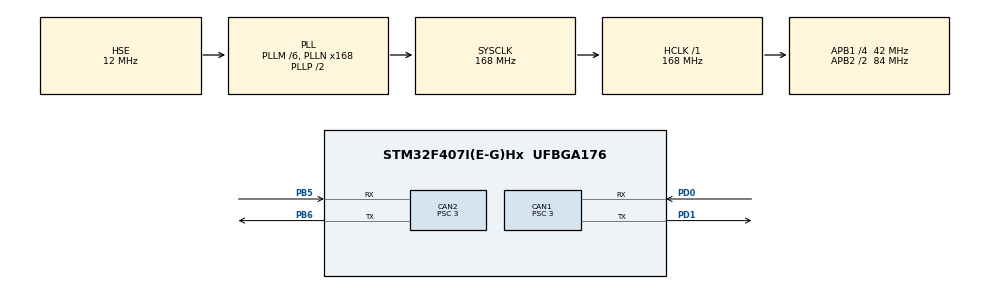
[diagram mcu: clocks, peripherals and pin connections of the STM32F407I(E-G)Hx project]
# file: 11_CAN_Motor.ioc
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CAN1.BS1=CAN_BS1_10TQ
CAN1.BS2=CAN_BS2_3TQ
CAN1.CalculateBaudRate=1000000
CAN1.CalculateTimeBit=1000
CAN1.CalculateTimeQuantum=71.42857142857143
CAN1.Mode=CAN_MODE_NORMAL
CAN1.Prescaler=3
CAN1.TXFP=ENABLE
CAN2.BS1=CAN_BS1_10TQ
CAN2.BS2=CAN_BS2_3TQ
CAN2.CalculateBaudRate=1000000
CAN2.CalculateTimeBit=1000
CAN2.CalculateTimeQuantum=71.42857142857143
CAN2.Mode=CAN_MODE_NORMAL
CAN2.Prescaler=3
CAN2.TXFP=ENABLE
Mcu.Family=STM32F4
Mcu.Name=STM32F407I(E-G)Hx
Mcu.Package=UFBGA176
NVIC.CAN1_RX0_IRQn=true\:0\:0\:false\:false\:true\:true\:true\:true
NVIC.CAN1_RX1_IRQn=true\:0\:0\:false\:false\:true\:true\:true\:true
NVIC.CAN2_RX0_IRQn=true\:0\:0\:false\:false\:true\:true\:true\:true
NVIC.CAN2_RX1_IRQn=true\:0\:0\:false\:false\:true\:true\:true\:true
NVIC.PriorityGroup=NVIC_PRIORITYGROUP_4
PA13.Mode=Serial_Wire
PA13.Signal=SYS_JTMS-SWDIO
PA14.Mode=Serial_Wire
PA14.Signal=SYS_JTCK-SWCLK
PB5.Mode=CAN_Activate
PB5.Signal=CAN2_RX
PB6.Mode=CAN_Activate
PB6.Signal=CAN2_TX
PD0.Mode=CAN_Activate
PD0.Signal=CAN1_RX
PD1.Mode=CAN_Activate
PD1.Signal=CAN1_TX
PH0-OSC_IN.Mode=HSE-External-Oscillator
PH0-OSC_IN.Signal=RCC_OSC_IN
PH1-OSC_OUT.Mode=HSE-External-Oscillator
PH1-OSC_OUT.Signal=RCC_OSC_OUT
ProjectManager.HeapSize=0x200
ProjectManager.StackSize=0x400
ProjectManager.TargetToolchain=Makefile
RCC.48MHZClocksFreq_Value=84000000
RCC.AHBFreq_Value=168000000
RCC.APB1CLKDivider=RCC_HCLK_DIV4
RCC.APB1Freq_Value=42000000
RCC.APB1TimFreq_Value=84000000
RCC.APB2CLKDivider=RCC_HCLK_DIV2
RCC.APB2Freq_Value=84000000
RCC.APB2TimFreq_Value=168000000
RCC.CortexFreq_Value=168000000
RCC.HCLKFreq_Value=168000000
RCC.HSE_VALUE=12000000
RCC.HSI_VALUE=16000000
RCC.LSE_VALUE=32768
RCC.PLLM=6
RCC.PLLN=168
RCC.PLLSourceVirtual=RCC_PLLSOURCE_HSE
RCC.SYSCLKFreq_VALUE=168000000
RCC.SYSCLKSource=RCC_SYSCLKSOURCE_PLLCLK
RCC.VCOOutputFreq_Value=336000000
board=custom

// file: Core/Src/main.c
/* USER CODE BEGIN Header */
/**
  ******************************************************************************
  * @file           : main.c
  * @brief          : Main program body
  ******************************************************************************
  * @attention
  *
  * Copyright (c) 2026 STMicroelectronics.
  * All rights reserved.
  *
  * This software is licensed under terms that can be found in the LICENSE file
  * in the root directory of this software component.
  * If no LICENSE file comes with this software, it is provided AS-IS.
  *
  ******************************************************************************
  */
/* USER CODE END Header */
#include "main.h"
#include "can.h"
#include "gpio.h"

/* USER CODE BEGIN Includes */
#include "math.h"
#include "string.h"
#include "stdlib.h"
/* USER CODE END Includes */

/* USER CODE BEGIN PTD */
// 电机信息
typedef struct
{
  CAN_HandleTypeDef *can_handle;
  CAN_TxHeaderTypeDef txconf;
  uint32_t tx_id;
  uint32_t tx_mailbox;
  uint8_t tx_buff[8];
  uint8_t rx_buff[8];
  uint32_t rx_id;
  uint8_t rx_len;
} CANInstance;

// DJI电机反馈信息
typedef struct
{
    // 原始数据
    uint16_t ecd;                   // 0-8191,刻度总共有8192格
    int16_t speed_rpm;              // 转速,单位为rpm
    int16_t real_current;           // 实际电流
    uint8_t temperature;            // 温度 Celsius

    // 处理后的数据
    int16_t real_current_handle;    // 处理后的电流
    float speed_aps;                // 角速度,单位为:度/秒
    uint16_t last_ecd;              // 上一次读取的编码器值
    float angle_single_round;       // 单圈角度
    float total_angle;              // 总角度,注意方向
    int32_t total_round;            // 总圈数,注意方向

} DJI_Motor_Measure_s;

#define PI                      3.14159265358979f
float t = 0.0f;                 // 用于正弦波计算的时间变量
CANInstance motor1;
DJI_Motor_Measure_s motor1_measure;
int16_t current;
float current_fitter = 0.9f;
/* USER CODE END PTD */

/* USER CODE BEGIN PV */
static void CANFIFOxCallback(CAN_HandleTypeDef *_hcan, uint32_t fifox)
{
    static CAN_RxHeaderTypeDef rxconf; // 同上
    uint8_t can_rx_buff[8];
    while (HAL_CAN_GetRxFifoFillLevel(_hcan, fifox)) // FIFO不为空,有可能在其他中断时有多帧数据进入
    {
        HAL_CAN_GetRxMessage(_hcan, fifox, &rxconf, can_rx_buff); // 从FIFO中获取数据
        if (_hcan == motor1.can_handle && rxconf.StdId == motor1.rx_id)
        {
            motor1.rx_len = rxconf.DLC;                         // 保存接收到的数据长度
            memcpy(motor1.rx_buff, can_rx_buff, rxconf.DLC);    // 消息拷贝到对应实例
            motor1_measure.last_ecd = motor1_measure.ecd;
            // 解析电机数据
            motor1_measure.ecd = (uint16_t)(motor1.rx_buff[0] << 8 | motor1.rx_buff[1]);
            motor1_measure.speed_rpm = (int16_t)(motor1.rx_buff[2] << 8 | motor1.rx_buff[3]);
            motor1_measure.real_current = (int16_t)(motor1.rx_buff[4] << 8 | motor1.rx_buff[5]);
            motor1_measure.temperature = (int8_t)motor1.rx_buff[6];
            // 处理数据
            motor1_measure.angle_single_round = (float)(360.0f/8192.0f) * (float)motor1_measure.ecd;

            motor1_measure.speed_aps = (1.0f - 0.85f) * motor1_measure.speed_aps + 0.85f * (360.0f / 60.0f) * (float)motor1_measure.speed_rpm;

            motor1_measure.real_current_handle = (1.0f - current_fitter) * motor1_measure.real_current_handle + current_fitter * (float)motor1_measure.real_current;

            // 多圈角度计算,前提是假设两次采样间电机转过的角度小于180°,自己画个图就清楚计算过程了
            if (motor1_measure.ecd - motor1_measure.last_ecd > 4096)
                motor1_measure.total_round--;
            else if (motor1_measure.ecd - motor1_measure.last_ecd < -4096)
                motor1_measure.total_round++;
            motor1_measure.total_angle = motor1_measure.total_round * 360 + motor1_measure.angle_single_round;
            return;
        }

    }
}

void HAL_CAN_RxFifo0MsgPendingCallback(CAN_HandleTypeDef *hcan)
{
    CANFIFOxCallback(hcan, CAN_RX_FIFO0); // 调用我们自己写的函数来处理消息
}

void HAL_CAN_RxFifo1MsgPendingCallback(CAN_HandleTypeDef *hcan)
{
    CANFIFOxCallback(hcan, CAN_RX_FIFO1); // 调用我们自己写的函数来处理消息
}
/* USER CODE END PV */

void SystemClock_Config(void);

int main(void)
{

  /* MCU Configuration--------------------------------------------------------*/

  /* Reset of all peripherals, Initializes the Flash interface and the Systick. */
  HAL_Init();

  /* Configure the system clock */
  SystemClock_Config();

  /* Initialize all configured peripherals */
  MX_GPIO_Init();
  MX_CAN1_Init();
  MX_CAN2_Init();
  /* USER CODE BEGIN 2 */
  // 初始化CAN服务
  HAL_CAN_Start(&hcan1);
  HAL_CAN_ActivateNotification(&hcan1, CAN_IT_RX_FIFO0_MSG_PENDING);
  HAL_CAN_ActivateNotification(&hcan1, CAN_IT_RX_FIFO1_MSG_PENDING);
  HAL_CAN_Start(&hcan2);
  HAL_CAN_ActivateNotification(&hcan2, CAN_IT_RX_FIFO0_MSG_PENDING);
  HAL_CAN_ActivateNotification(&hcan2, CAN_IT_RX_FIFO1_MSG_PENDING);

  // 配置电机的基本参数
  motor1.txconf.StdId = 0x200;
  motor1.txconf.IDE = CAN_ID_STD;
  motor1.txconf.RTR = CAN_RTR_DATA;
  motor1.txconf.DLC = 8;
  motor1.can_handle = &hcan1;
  motor1.tx_id = 0x200;
  motor1.rx_id = 0x201;

  // 配置电机的过滤器
  /* 配置这个电机的过滤器 */
  CAN_FilterTypeDef can_filter_conf;
  static uint8_t can1_filter_idx = 0, can2_filter_idx = 14; // 0-13给can1用,14-27给can2用
  can_filter_conf.FilterMode = CAN_FILTERMODE_IDLIST;
  can_filter_conf.FilterScale = CAN_FILTERSCALE_16BIT;
  can_filter_conf.FilterFIFOAssignment = (motor1.tx_id & 1) ? CAN_RX_FIFO0 : CAN_RX_FIFO1;
  can_filter_conf.SlaveStartFilterBank = 14;
  can_filter_conf.FilterIdLow = motor1.rx_id << 5;
  can_filter_conf.FilterBank = motor1.can_handle == &hcan1 ? (can1_filter_idx++) : (can2_filter_idx++);
  can_filter_conf.FilterActivation = CAN_FILTER_ENABLE;
  HAL_CAN_ConfigFilter(motor1.can_handle, &can_filter_conf);
  /* USER CODE END 2 */

  /* Infinite loop */
  while (1)
  {

    /* USER CODE BEGIN 3 */
    current = 1000* sin(t*PI);
    t+= 0.02f;
    // current = 0; // 暂时不发送电流
    if(HAL_CAN_GetTxMailboxesFreeLevel(motor1.can_handle) == 0); // 等待邮箱空闲
    else
    {
      motor1.tx_buff[0] = (uint8_t)(current >> 8);       // 高八位
      motor1.tx_buff[1] = (uint8_t)(current & 0x00ff);    // 低八位
      motor1.tx_buff[2] = 0;
      motor1.tx_buff[3] = 0;
      motor1.tx_buff[4] = 0;
      motor1.tx_buff[5] = 0;
      motor1.tx_buff[6] = 0;
      motor1.tx_buff[7] = 0;
      HAL_CAN_AddTxMessage(motor1.can_handle, &motor1.txconf, motor1.tx_buff, &motor1.tx_mailbox);
    }
    HAL_Delay(10); // 10ms发送一次
  }
  /* USER CODE END 3 */
}

void SystemClock_Config(void)
{
  RCC_OscInitTypeDef RCC_OscInitStruct = {0};
  RCC_ClkInitTypeDef RCC_ClkInitStruct = {0};

  /** Configure the main internal regulator output voltage
  */
  __HAL_RCC_PWR_CLK_ENABLE();
  __HAL_PWR_VOLTAGESCALING_CONFIG(PWR_REGULATOR_VOLTAGE_SCALE1);

  /** Initializes the RCC Oscillators according to the specified parameters
  * in the RCC_OscInitTypeDef structure.
  */
  RCC_OscInitStruct.OscillatorType = RCC_OSCILLATORTYPE_HSE;
  RCC_OscInitStruct.HSEState = RCC_HSE_ON;
  RCC_OscInitStruct.PLL.PLLState = RCC_PLL_ON;
  RCC_OscInitStruct.PLL.PLLSource = RCC_PLLSOURCE_HSE;
  RCC_OscInitStruct.PLL.PLLM = 6;
  RCC_OscInitStruct.PLL.PLLN = 168;
  RCC_OscInitStruct.PLL.PLLP = RCC_PLLP_DIV2;
  RCC_OscInitStruct.PLL.PLLQ = 4;
  if (HAL_RCC_OscConfig(&RCC_OscInitStruct) != HAL_OK)
  {
    Error_Handler();
  }

  /** Initializes the CPU, AHB and APB buses clocks
  */
  RCC_ClkInitStruct.ClockType = RCC_CLOCKTYPE_HCLK|RCC_CLOCKTYPE_SYSCLK
                              |RCC_CLOCKTYPE_PCLK1|RCC_CLOCKTYPE_PCLK2;
  RCC_ClkInitStruct.SYSCLKSource = RCC_SYSCLKSOURCE_PLLCLK;
  RCC_ClkInitStruct.AHBCLKDivider = RCC_SYSCLK_DIV1;
  RCC_ClkInitStruct.APB1CLKDivider = RCC_HCLK_DIV4;
  RCC_ClkInitStruct.APB2CLKDivider = RCC_HCLK_DIV2;

  if (HAL_RCC_ClockConfig(&RCC_ClkInitStruct, FLASH_LATENCY_5) != HAL_OK)
  {
    Error_Handler();
  }
}

void Error_Handler(void)
{
  __disable_irq();
  while (1)
  {
  }
}
